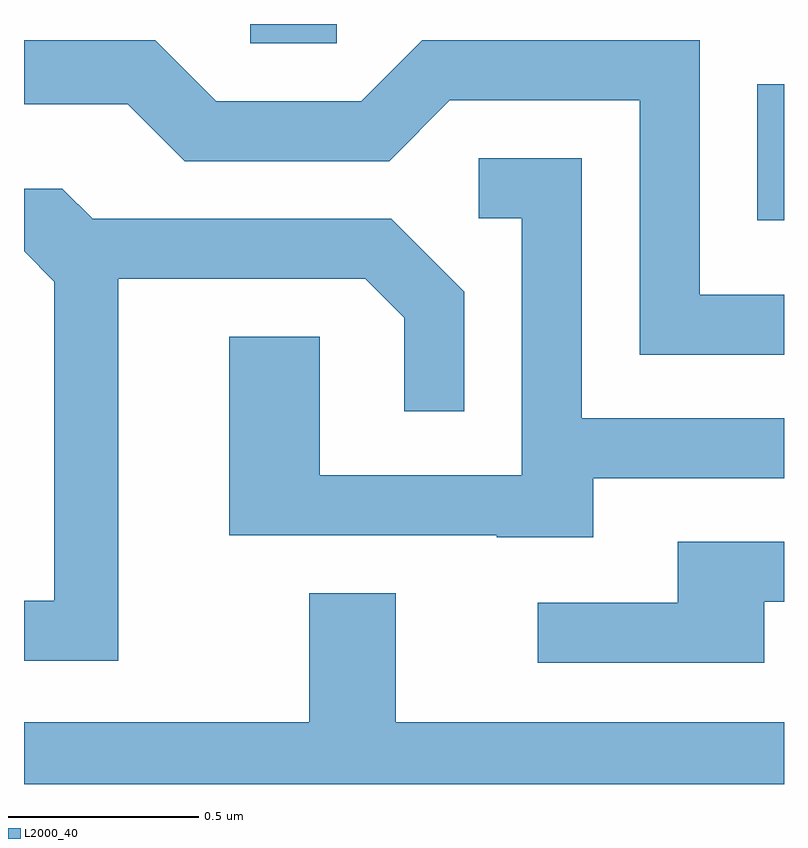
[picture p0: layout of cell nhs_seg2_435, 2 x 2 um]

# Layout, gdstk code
import gdstk
lib = gdstk.Library(unit=1e-6, precision=1e-09)
def R(c, l, rs):  # rectangles x0, y0, x1, y1
    for r in rs: c.add(gdstk.rectangle(r[:2], r[2:], *l))
def P(c, l, *ps):  # polygons
    for p in ps: c.add(gdstk.Polygon(p, *l))
L2000_40 = (2000, 40)

nhs_seg2_435 = lib.new_cell('nhs_seg2_435')
R(nhs_seg2_435, L2000_40, [(190.541,1003.286,190.611,1003.643), (189.206,1003.751,189.434,1003.802)])
P(nhs_seg2_435, L2000_40, [(190.611,1003.089),(190.389,1003.089),(190.389,1003.759),(189.659,1003.759),(189.499,1003.599),(189.117,1003.599),(188.957,1003.759),(188.611,1003.759),(188.611,1003.591),(188.884,1003.591),(189.034,1003.441),(189.572,1003.441),(189.732,1003.601),(190.231,1003.601),(190.231,1002.931),(190.611,1002.931)],
  [(190.109,1002.606),(190.611,1002.606),(190.611,1002.764),(190.079,1002.764),(190.079,1003.449),(189.808,1003.449),(189.808,1003.291),(189.921,1003.291),(189.921,1002.614),(189.389,1002.614),(189.389,1002.979),(189.151,1002.979),(189.151,1002.456),(189.855,1002.456),(189.855,1002.451),(190.109,1002.451)],
  [(188.859,1003.131),(189.509,1003.131),(189.611,1003.029),(189.611,1002.783),(189.769,1002.783),(189.769,1003.097),(189.577,1003.289),(188.792,1003.289),(188.712,1003.369),(188.611,1003.369),(188.611,1003.204),(188.691,1003.124),(188.691,1002.284),(188.611,1002.284),(188.611,1002.126),(188.859,1002.126)],
  [(190.559,1002.281),(190.611,1002.281),(190.611,1002.439),(190.331,1002.439),(190.331,1002.279),(189.963,1002.279),(189.963,1002.121),(190.559,1002.121)],
  [(190.611,1001.964),(189.589,1001.964),(189.589,1002.304),(189.361,1002.304),(189.361,1001.964),(188.611,1001.964),(188.611,1001.802),(190.611,1001.802)])

lib.write_gds('nhs_seg2_435.gds')
